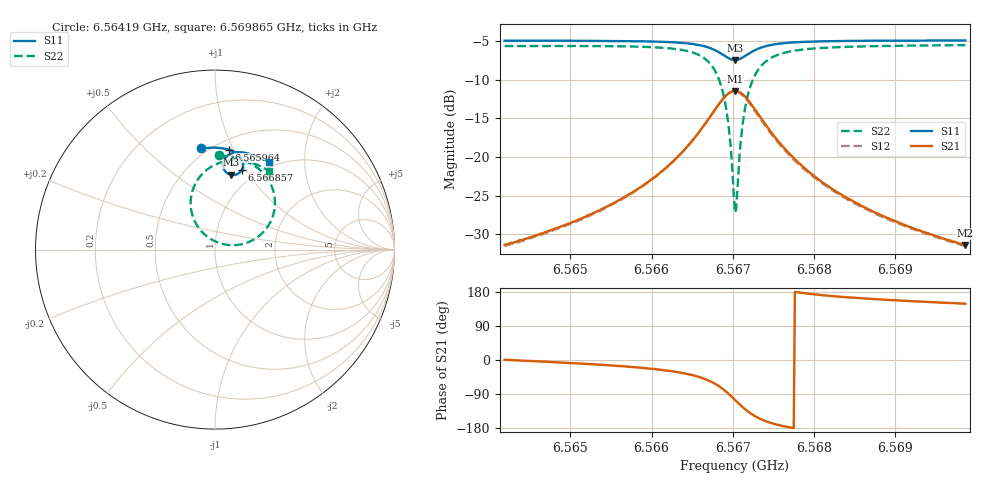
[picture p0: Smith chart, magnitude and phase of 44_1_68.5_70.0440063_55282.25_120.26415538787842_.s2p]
#  HZ  S  RI  R  50.00
! Rohde & Schwarz Vector Network Analyzer
! Rohde-Schwarz,ZNB20-2Port,1311601062101988,3.16
! Created: UTC 3/20/2024, 5:05:42 PM
! freq[Hz]  re:S11  im:S11  re:S21  im:S21  re:S12  im:S12  re:S22  im:S22
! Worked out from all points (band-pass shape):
!   401 points, 6.56419 GHz to 6.569865 GHz, reference 50 ohm
!   highest |S21| = -11.41 dB at 6.567028 GHz (marker M1); lowest = -31.5 dB at 6.569865 GHz (marker M2)
!   |S21| within 3 dB of the highest: 6.566745 GHz to 6.567312 GHz (567.1 kHz wide, 0.00864 % of centre)
!   lowest |S11| = -7.4 dB at 6.567028 GHz (marker M3), VSWR 2.49, Z = 40.8 + j41.5 ohm
!   |S11| at or under -10 dB: nowhere
!   |S22| runs from -27.2 to -5.5 dB; largest |S21 - S12| = 0.012
!   S11 on the Smith chart (normalised r, x): 6.56419 GHz: 0.46, +0.76; 6.565964 GHz: 0.59, +0.96; 6.566857 GHz: 0.85, +0.97; 6.569865 GHz: 0.93, +1.34
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6.5641904e9  -0.0756 0.5641  0.0269 0.000308  0.0264 -0.000228  0.0234 0.5246
6.5651409e9  0.00163 0.5679  0.0394 -0.00667  0.0387 -0.0072  0.1113 0.5133
6.5659636e9  0.0765 0.5573  0.064 -0.0263  0.0631 -0.027  0.2127 0.4721
6.5660913e9  0.0896 0.5531  0.0704 -0.0332  0.0694 -0.0341  0.2332 0.4579
6.5664034e9  0.1247 0.5346  0.0909 -0.0641  0.0894 -0.0652  0.2915 0.3969
6.5666304e9  0.1502 0.5045  0.1044 -0.1161  0.1021 -0.1182  0.3314 0.2968
6.5667581e9  0.1576 0.4748  0.0977 -0.1684  0.0936 -0.1713  0.3254 0.1969
6.5668574e9  0.1497 0.4444  0.0666 -0.2203  0.0596 -0.2232  0.271 0.0994
6.5668999e9  0.1399 0.4316  0.0416 -0.2413  0.0329 -0.2431  0.2253 0.0613
6.5669425e9  0.1257 0.4216  0.00887 -0.2571  -0.00143 -0.2572  0.1656 0.034
6.5669708e9  0.1142 0.4173  -0.0167 -0.2629  -0.0274 -0.2612  0.1194 0.0254
6.5670134e9  0.0953 0.4157  -0.0575 -0.2621  -0.0685 -0.2576  0.047 0.0301
6.5670276e9  0.0889 0.4167  -0.0711 -0.2592  -0.0818 -0.2537  0.0234 0.0367
6.567056e9  0.0767 0.4208  -0.097 -0.2493  -0.1068 -0.242  -0.0207 0.0571
6.5671127e9  0.0571 0.4361  -0.139 -0.2169  -0.146 -0.207  -0.0896 0.1193
6.5671553e9  0.0481 0.4512  -0.1596 -0.1865  -0.1638 -0.176  -0.1201 0.175
6.567212e9  0.0441 0.4718  -0.1723 -0.1457  -0.1737 -0.1357  -0.1354 0.2475
6.5672829e9  0.048 0.4941  -0.1722 -0.1021  -0.1711 -0.0937  -0.1269 0.3232
6.5675383e9  0.0872 0.534  -0.1288 -0.0221  -0.1261 -0.0184  -0.0294 0.4561
6.567978e9  0.1457 0.5423  -0.0767 0.00817  -0.0748 0.00942  0.0923 0.4969
6.5689285e9  0.2321 0.5199  -0.037 0.0146  -0.0361 0.0148  0.2218 0.4774
6.5698648e9  0.3001 0.4855  -0.0227 0.0139  -0.0224 0.0141  0.3012 0.4391
